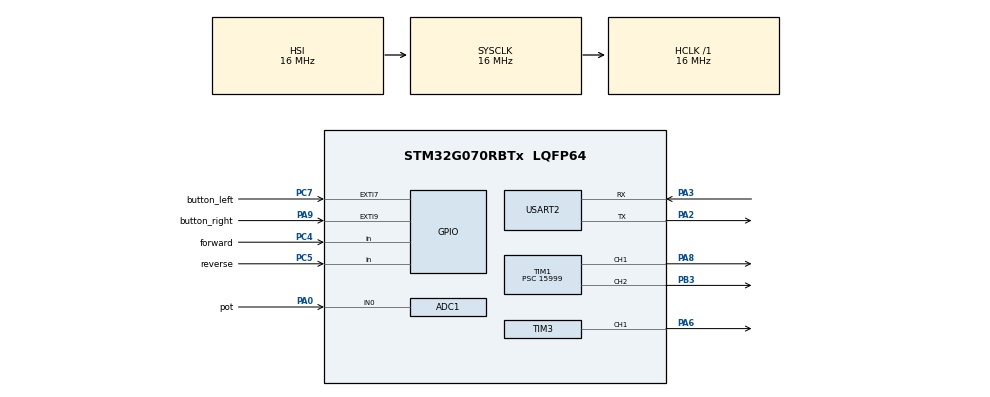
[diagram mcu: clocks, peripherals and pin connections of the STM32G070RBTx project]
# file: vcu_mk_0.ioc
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ADC1.Channel-1\#ChannelRegularConversion=ADC_CHANNEL_0
ADC1.ContinuousConvMode=DISABLE
ADC1.NbrOfConversionFlag=1
ADC1.Rank-1\#ChannelRegularConversion=1
ADC1.SamplingTime-1\#ChannelRegularConversion=ADC_SAMPLINGTIME_COMMON_1
ADC1.SelectedChannel=ADC_CHANNEL_0
ADC1.master=1
Mcu.Family=STM32G0
Mcu.Name=STM32G070RBTx
Mcu.Package=LQFP64
PA0.GPIO_Label=pot
PA0.Mode=IN0
PA0.Signal=ADC1_IN0
PA2.Mode=Asynchronous
PA2.Signal=USART2_TX
PA3.Mode=Asynchronous
PA3.Signal=USART2_RX
PA6.Signal=S_TIM3_CH1
PA8.Signal=S_TIM1_CH1
PA9.GPIO_Label=button_right
PA9.GPIO_ModeDefaultEXTI=GPIO_MODE_IT_FALLING
PA9.GPIO_PuPd=GPIO_PULLUP
PA9.Signal=GPXTI9
PB3.Signal=S_TIM1_CH2
PC4.GPIO_Label=forward
PC4.GPIO_PuPd=GPIO_PULLUP
PC4.Signal=GPIO_Input
PC5.GPIO_Label=reverse
PC5.GPIO_PuPd=GPIO_PULLUP
PC5.Signal=GPIO_Input
PC7.GPIO_Label=button_left
PC7.GPIO_ModeDefaultEXTI=GPIO_MODE_IT_FALLING
PC7.GPIO_PuPd=GPIO_PULLUP
PC7.Signal=GPXTI7
ProjectManager.HeapSize=0x200
ProjectManager.StackSize=0x400
ProjectManager.TargetToolchain=STM32CubeIDE
RCC.AHBFreq_Value=16000000
RCC.CortexFreq_Value=16000000
RCC.EXTERNAL_CLOCK_VALUE=48000
RCC.HCLKFreq_Value=16000000
RCC.HSE_VALUE=8000000
RCC.HSI_VALUE=16000000
RCC.LSE_VALUE=32768
RCC.SYSCLKFreq_VALUE=16000000
RCC.VCOOutputFreq_Value=128000000
SH.S_TIM1_CH1.0=TIM1_CH1,PWM Generation1 CH1
SH.S_TIM1_CH2.0=TIM1_CH2,PWM Generation2 CH2
SH.S_TIM3_CH1.0=TIM3_CH1,PWM Generation1 CH1
TIM1.Channel-PWM\ Generation1\ CH1=TIM_CHANNEL_1
TIM1.Channel-PWM\ Generation2\ CH2=TIM_CHANNEL_2
TIM1.OCMode_PWM-PWM\ Generation2\ CH2=TIM_OCMODE_PWM1
TIM1.Period=300
TIM1.Prescaler=15999
TIM1.Pulse-PWM\ Generation1\ CH1=149
TIM1.Pulse-PWM\ Generation2\ CH2=149
TIM3.AutoReloadPreload=TIM_AUTORELOAD_PRELOAD_DISABLE
TIM3.Channel-PWM\ Generation1\ CH1=TIM_CHANNEL_1
TIM3.OC1Preload_PWM=DISABLE
TIM3.Period=300
TIM3.Prescaler=15999
TIM3.Pulse-PWM\ Generation1\ CH1=149
USART2.VirtualMode-Asynchronous=VM_ASYNC
VP_TIM1_VS_ClockSourceINT.Mode=Internal
board=custom

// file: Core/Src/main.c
/* USER CODE BEGIN Header */
/**
  ******************************************************************************
  * @file           : main.c
  * @brief          : Main program body
  ******************************************************************************
  * @attention
  *
  * Copyright (c) 2025 STMicroelectronics.
  * All rights reserved.
  *
  * This software is licensed under terms that can be found in the LICENSE file
  * in the root directory of this software component.
  * If no LICENSE file comes with this software, it is provided AS-IS.
  *
  ******************************************************************************
  */
/* USER CODE END Header */
#include "main.h"

/* USER CODE BEGIN Includes */
#include <string.h>
#include <stdio.h>
#include  <stdbool.h>
#include "VCU_Interface.h"
/* USER CODE END Includes */

ADC_HandleTypeDef hadc1;

TIM_HandleTypeDef htim1;
TIM_HandleTypeDef htim3;

UART_HandleTypeDef huart2;

/* USER CODE BEGIN PV */
uint8_t left_LED_state = 1;
uint8_t right_LED_state = 1;
/* USER CODE END PV */

void SystemClock_Config(void);
static void MX_GPIO_Init(void);
static void MX_TIM1_Init(void);
static void MX_ADC1_Init(void);
static void MX_USART2_UART_Init(void);
static void MX_TIM3_Init(void);

int main(void)
{

  /* MCU Configuration--------------------------------------------------------*/

  /* Reset of all peripherals, Initializes the Flash interface and the Systick. */
  HAL_Init();

  /* Configure the system clock */
  SystemClock_Config();

  /* Initialize all configured peripherals */
  MX_GPIO_Init();
  MX_TIM1_Init();
  MX_ADC1_Init();
  MX_USART2_UART_Init();
  MX_TIM3_Init();
  /* USER CODE BEGIN 2 */
  uint16_t pot_val=0;
  char tx_buffer[64];  // Define this globally or at the top of main()

  /* USER CODE END 2 */

  /* Infinite loop */
  while (1)
  {

    /* USER CODE BEGIN 3 */

	  //	    if (HAL_GPIO_ReadPin(forward_GPIO_Port, forward_Pin) == GPIO_PIN_RESET) {
	  //	        HAL_Delay(10);  // Debounce
	  //	        if (HAL_GPIO_ReadPin(forward_GPIO_Port, forward_Pin) == GPIO_PIN_RESET) {
	  //	        	HAL_TIM_PWM_Start(&htim3, TIM_CHANNEL_1);
	  //	        }
	  //	    }

	  //	    if (HAL_GPIO_ReadPin(reverse_GPIO_Port, reverse_Pin) == GPIO_PIN_RESET) {
	  //
	  //	    }

		HAL_TIM_PWM_Start(&htim3, TIM_CHANNEL_1);
	  // 1. ADC & Motor PWM
	  HAL_ADC_Start(&hadc1);
	  HAL_ADC_PollForConversion(&hadc1, 1);
	  pot_val = HAL_ADC_GetValue(&hadc1);

	  uint32_t pwm_val = (pot_val * (__HAL_TIM_GET_AUTORELOAD(&htim3))) / 4095;
	  __HAL_TIM_SET_COMPARE(&htim3, TIM_CHANNEL_1, pwm_val);

	  // Start motor PWM once
	  static bool motor_pwm_started = false;
	  if (!motor_pwm_started) {
	      HAL_TIM_PWM_Start(&htim3, TIM_CHANNEL_1);
	      motor_pwm_started = true;
	  }

	  // 2. UART Debug
	  snprintf(tx_buffer, sizeof(tx_buffer), "ADC Value: %u\r\n", pot_val);
	  HAL_UART_Transmit(&huart2, (uint8_t *)tx_buffer, strlen(tx_buffer), HAL_MAX_DELAY);

	  // 3. Button Logic (LED control)
	  if (HAL_GPIO_ReadPin(button_left_GPIO_Port, button_left_Pin) == GPIO_PIN_RESET) {
	      HAL_Delay(10);
	      if (HAL_GPIO_ReadPin(button_left_GPIO_Port, button_left_Pin) == GPIO_PIN_RESET) {
	          HAL_TIM_PWM_Start(&htim1, TIM_CHANNEL_2);  // Left LED ON
	          HAL_TIM_PWM_Stop(&htim1, TIM_CHANNEL_1);   // Right LED OFF
	          while (HAL_GPIO_ReadPin(button_left_GPIO_Port, button_left_Pin) == GPIO_PIN_RESET);
	      }
	  }
	  else if (HAL_GPIO_ReadPin(button_right_GPIO_Port, button_right_Pin) == GPIO_PIN_RESET) {
	      HAL_Delay(10);
	      if (HAL_GPIO_ReadPin(button_right_GPIO_Port, button_right_Pin) == GPIO_PIN_RESET) {
	          HAL_TIM_PWM_Start(&htim1, TIM_CHANNEL_1);  // Right LED ON
	          HAL_TIM_PWM_Stop(&htim1, TIM_CHANNEL_2);   // Left LED OFF
	          while (HAL_GPIO_ReadPin(button_right_GPIO_Port, button_right_Pin) == GPIO_PIN_RESET);
	      }
	  }
	  else {
	      HAL_TIM_PWM_Stop(&htim1, TIM_CHANNEL_2);
	      HAL_TIM_PWM_Stop(&htim1, TIM_CHANNEL_1);
	  }

	  HAL_Delay(100);

  }
  /* USER CODE END 3 */
}

void SystemClock_Config(void)
{
  RCC_OscInitTypeDef RCC_OscInitStruct = {0};
  RCC_ClkInitTypeDef RCC_ClkInitStruct = {0};

  /** Configure the main internal regulator output voltage
  */
  HAL_PWREx_ControlVoltageScaling(PWR_REGULATOR_VOLTAGE_SCALE1);

  /** Initializes the RCC Oscillators according to the specified parameters
  * in the RCC_OscInitTypeDef structure.
  */
  RCC_OscInitStruct.OscillatorType = RCC_OSCILLATORTYPE_HSI;
  RCC_OscInitStruct.HSIState = RCC_HSI_ON;
  RCC_OscInitStruct.HSIDiv = RCC_HSI_DIV1;
  RCC_OscInitStruct.HSICalibrationValue = RCC_HSICALIBRATION_DEFAULT;
  RCC_OscInitStruct.PLL.PLLState = RCC_PLL_NONE;
  if (HAL_RCC_OscConfig(&RCC_OscInitStruct) != HAL_OK)
  {
    Error_Handler();
  }

  /** Initializes the CPU, AHB and APB buses clocks
  */
  RCC_ClkInitStruct.ClockType = RCC_CLOCKTYPE_HCLK|RCC_CLOCKTYPE_SYSCLK
                              |RCC_CLOCKTYPE_PCLK1;
  RCC_ClkInitStruct.SYSCLKSource = RCC_SYSCLKSOURCE_HSI;
  RCC_ClkInitStruct.AHBCLKDivider = RCC_SYSCLK_DIV1;
  RCC_ClkInitStruct.APB1CLKDivider = RCC_HCLK_DIV1;

  if (HAL_RCC_ClockConfig(&RCC_ClkInitStruct, FLASH_LATENCY_0) != HAL_OK)
  {
    Error_Handler();
  }
}

static void MX_ADC1_Init(void)
{

  ADC_ChannelConfTypeDef sConfig = {0};

  /** Configure the global features of the ADC (Clock, Resolution, Data Alignment and number of conversion)
  */
  hadc1.Instance = ADC1;
  hadc1.Init.ClockPrescaler = ADC_CLOCK_SYNC_PCLK_DIV2;
  hadc1.Init.Resolution = ADC_RESOLUTION_12B;
  hadc1.Init.DataAlign = ADC_DATAALIGN_RIGHT;
  hadc1.Init.ScanConvMode = ADC_SCAN_DISABLE;
  hadc1.Init.EOCSelection = ADC_EOC_SINGLE_CONV;
  hadc1.Init.LowPowerAutoWait = DISABLE;
  hadc1.Init.LowPowerAutoPowerOff = DISABLE;
  hadc1.Init.ContinuousConvMode = DISABLE;
  hadc1.Init.NbrOfConversion = 1;
  hadc1.Init.DiscontinuousConvMode = DISABLE;
  hadc1.Init.ExternalTrigConv = ADC_SOFTWARE_START;
  hadc1.Init.ExternalTrigConvEdge = ADC_EXTERNALTRIGCONVEDGE_NONE;
  hadc1.Init.DMAContinuousRequests = DISABLE;
  hadc1.Init.Overrun = ADC_OVR_DATA_PRESERVED;
  hadc1.Init.SamplingTimeCommon1 = ADC_SAMPLETIME_1CYCLE_5;
  hadc1.Init.SamplingTimeCommon2 = ADC_SAMPLETIME_1CYCLE_5;
  hadc1.Init.OversamplingMode = DISABLE;
  hadc1.Init.TriggerFrequencyMode = ADC_TRIGGER_FREQ_HIGH;
  if (HAL_ADC_Init(&hadc1) != HAL_OK)
  {
    Error_Handler();
  }

  /** Configure Regular Channel
  */
  sConfig.Channel = ADC_CHANNEL_0;
  sConfig.Rank = ADC_REGULAR_RANK_1;
  sConfig.SamplingTime = ADC_SAMPLINGTIME_COMMON_1;
  if (HAL_ADC_ConfigChannel(&hadc1, &sConfig) != HAL_OK)
  {
    Error_Handler();
  }

}

static void MX_TIM1_Init(void)
{

  TIM_ClockConfigTypeDef sClockSourceConfig = {0};
  TIM_MasterConfigTypeDef sMasterConfig = {0};
  TIM_OC_InitTypeDef sConfigOC = {0};
  TIM_BreakDeadTimeConfigTypeDef sBreakDeadTimeConfig = {0};

  htim1.Instance = TIM1;
  htim1.Init.Prescaler = 15999;
  htim1.Init.CounterMode = TIM_COUNTERMODE_UP;
  htim1.Init.Period = 300;
  htim1.Init.ClockDivision = TIM_CLOCKDIVISION_DIV1;
  htim1.Init.RepetitionCounter = 0;
  htim1.Init.AutoReloadPreload = TIM_AUTORELOAD_PRELOAD_DISABLE;
  if (HAL_TIM_Base_Init(&htim1) != HAL_OK)
  {
    Error_Handler();
  }
  sClockSourceConfig.ClockSource = TIM_CLOCKSOURCE_INTERNAL;
  if (HAL_TIM_ConfigClockSource(&htim1, &sClockSourceConfig) != HAL_OK)
  {
    Error_Handler();
  }
  if (HAL_TIM_PWM_Init(&htim1) != HAL_OK)
  {
    Error_Handler();
  }
  sMasterConfig.MasterOutputTrigger = TIM_TRGO_RESET;
  sMasterConfig.MasterOutputTrigger2 = TIM_TRGO2_RESET;
  sMasterConfig.MasterSlaveMode = TIM_MASTERSLAVEMODE_DISABLE;
  if (HAL_TIMEx_MasterConfigSynchronization(&htim1, &sMasterConfig) != HAL_OK)
  {
    Error_Handler();
  }
  sConfigOC.OCMode = TIM_OCMODE_PWM1;
  sConfigOC.Pulse = 149;
  sConfigOC.OCPolarity = TIM_OCPOLARITY_HIGH;
  sConfigOC.OCNPolarity = TIM_OCNPOLARITY_HIGH;
  sConfigOC.OCFastMode = TIM_OCFAST_DISABLE;
  sConfigOC.OCIdleState = TIM_OCIDLESTATE_RESET;
  sConfigOC.OCNIdleState = TIM_OCNIDLESTATE_RESET;
  if (HAL_TIM_PWM_ConfigChannel(&htim1, &sConfigOC, TIM_CHANNEL_1) != HAL_OK)
  {
    Error_Handler();
  }
  if (HAL_TIM_PWM_ConfigChannel(&htim1, &sConfigOC, TIM_CHANNEL_2) != HAL_OK)
  {
    Error_Handler();
  }
  sBreakDeadTimeConfig.OffStateRunMode = TIM_OSSR_DISABLE;
  sBreakDeadTimeConfig.OffStateIDLEMode = TIM_OSSI_DISABLE;
  sBreakDeadTimeConfig.LockLevel = TIM_LOCKLEVEL_OFF;
  sBreakDeadTimeConfig.DeadTime = 0;
  sBreakDeadTimeConfig.BreakState = TIM_BREAK_DISABLE;
  sBreakDeadTimeConfig.BreakPolarity = TIM_BREAKPOLARITY_HIGH;
  sBreakDeadTimeConfig.BreakFilter = 0;
  sBreakDeadTimeConfig.BreakAFMode = TIM_BREAK_AFMODE_INPUT;
  sBreakDeadTimeConfig.Break2State = TIM_BREAK2_DISABLE;
  sBreakDeadTimeConfig.Break2Polarity = TIM_BREAK2POLARITY_HIGH;
  sBreakDeadTimeConfig.Break2Filter = 0;
  sBreakDeadTimeConfig.Break2AFMode = TIM_BREAK_AFMODE_INPUT;
  sBreakDeadTimeConfig.AutomaticOutput = TIM_AUTOMATICOUTPUT_DISABLE;
  if (HAL_TIMEx_ConfigBreakDeadTime(&htim1, &sBreakDeadTimeConfig) != HAL_OK)
  {
    Error_Handler();
  }
  HAL_TIM_MspPostInit(&htim1);

}

static void MX_TIM3_Init(void)
{

  TIM_MasterConfigTypeDef sMasterConfig = {0};
  TIM_OC_InitTypeDef sConfigOC = {0};

  htim3.Instance = TIM3;
  htim3.Init.Prescaler = 15999;
  htim3.Init.CounterMode = TIM_COUNTERMODE_UP;
  htim3.Init.Period = 300;
  htim3.Init.ClockDivision = TIM_CLOCKDIVISION_DIV1;
  htim3.Init.AutoReloadPreload = TIM_AUTORELOAD_PRELOAD_DISABLE;
  if (HAL_TIM_PWM_Init(&htim3) != HAL_OK)
  {
    Error_Handler();
  }
  sMasterConfig.MasterOutputTrigger = TIM_TRGO_RESET;
  sMasterConfig.MasterSlaveMode = TIM_MASTERSLAVEMODE_DISABLE;
  if (HAL_TIMEx_MasterConfigSynchronization(&htim3, &sMasterConfig) != HAL_OK)
  {
    Error_Handler();
  }
  sConfigOC.OCMode = TIM_OCMODE_PWM1;
  sConfigOC.Pulse = 149;
  sConfigOC.OCPolarity = TIM_OCPOLARITY_HIGH;
  sConfigOC.OCFastMode = TIM_OCFAST_DISABLE;
  if (HAL_TIM_PWM_ConfigChannel(&htim3, &sConfigOC, TIM_CHANNEL_1) != HAL_OK)
  {
    Error_Handler();
  }
  __HAL_TIM_DISABLE_OCxPRELOAD(&htim3, TIM_CHANNEL_1);
  HAL_TIM_MspPostInit(&htim3);

}

static void MX_USART2_UART_Init(void)
{

  huart2.Instance = USART2;
  huart2.Init.BaudRate = 115200;
  huart2.Init.WordLength = UART_WORDLENGTH_8B;
  huart2.Init.StopBits = UART_STOPBITS_1;
  huart2.Init.Parity = UART_PARITY_NONE;
  huart2.Init.Mode = UART_MODE_TX_RX;
  huart2.Init.HwFlowCtl = UART_HWCONTROL_NONE;
  huart2.Init.OverSampling = UART_OVERSAMPLING_16;
  huart2.Init.OneBitSampling = UART_ONE_BIT_SAMPLE_DISABLE;
  huart2.Init.ClockPrescaler = UART_PRESCALER_DIV1;
  huart2.AdvancedInit.AdvFeatureInit = UART_ADVFEATURE_NO_INIT;
  if (HAL_UART_Init(&huart2) != HAL_OK)
  {
    Error_Handler();
  }
  if (HAL_UARTEx_SetTxFifoThreshold(&huart2, UART_TXFIFO_THRESHOLD_1_8) != HAL_OK)
  {
    Error_Handler();
  }
  if (HAL_UARTEx_SetRxFifoThreshold(&huart2, UART_RXFIFO_THRESHOLD_1_8) != HAL_OK)
  {
    Error_Handler();
  }
  if (HAL_UARTEx_DisableFifoMode(&huart2) != HAL_OK)
  {
    Error_Handler();
  }

}

static void MX_GPIO_Init(void)
{
  GPIO_InitTypeDef GPIO_InitStruct = {0};

  /* GPIO Ports Clock Enable */
  __HAL_RCC_GPIOA_CLK_ENABLE();
  __HAL_RCC_GPIOC_CLK_ENABLE();
  __HAL_RCC_GPIOB_CLK_ENABLE();

  /*Configure GPIO pins : forward_Pin reverse_Pin */
  GPIO_InitStruct.Pin = forward_Pin|reverse_Pin;
  GPIO_InitStruct.Mode = GPIO_MODE_INPUT;
  GPIO_InitStruct.Pull = GPIO_PULLUP;
  HAL_GPIO_Init(GPIOC, &GPIO_InitStruct);

  /*Configure GPIO pin : button_right_Pin */
  GPIO_InitStruct.Pin = button_right_Pin;
  GPIO_InitStruct.Mode = GPIO_MODE_IT_FALLING;
  GPIO_InitStruct.Pull = GPIO_PULLUP;
  HAL_GPIO_Init(button_right_GPIO_Port, &GPIO_InitStruct);

  /*Configure GPIO pin : button_left_Pin */
  GPIO_InitStruct.Pin = button_left_Pin;
  GPIO_InitStruct.Mode = GPIO_MODE_IT_FALLING;
  GPIO_InitStruct.Pull = GPIO_PULLUP;
  HAL_GPIO_Init(button_left_GPIO_Port, &GPIO_InitStruct);

}

void Error_Handler(void)
{
  __disable_irq();
  while (1)
  {
  }
}
